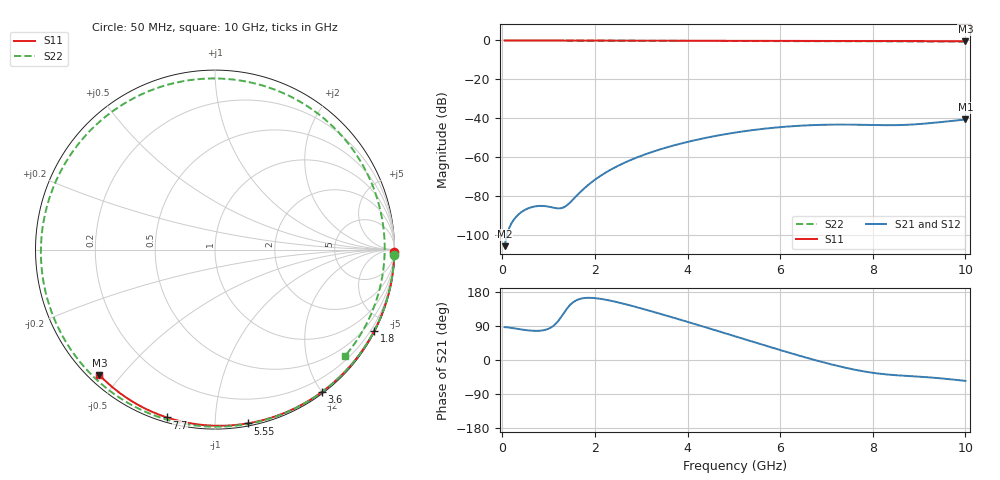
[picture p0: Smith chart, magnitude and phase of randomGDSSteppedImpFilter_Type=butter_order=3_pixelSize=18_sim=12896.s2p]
! freq	dB(S11)	phase(S11)	dB(S12)	phase(S12)
!  dB(S21)	phase(S21)	dB(S22)	phase(S22)
!S-par simulation data
#  GHz  S  DB  R 50
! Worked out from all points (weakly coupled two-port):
!   200 points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, 50 MHz to 10 GHz, reference 50 ohm
!   highest |S21| = -40.53 dB at 10 GHz (marker M1); lowest = -105.5 dB at 50 MHz (marker M2)
!   lowest |S11| = -0.4 dB at 10 GHz (marker M3), VSWR 39.05, Z = 1.53 - j21.9 ohm
!   |S11| at or under -10 dB: nowhere
!   |S22| runs from -0.6 to 0.0 dB; largest |S21 - S12| = 0
!   S11 on the Smith chart (normalised r, x): 50 MHz: open; 1.8 GHz: 0.04, -4.14; 3.6 GHz: 0.02, -2.00; 5.55 GHz: 0.02, -1.21; 7.7 GHz: 0.02, -0.75; 10 GHz: 0.03, -0.44
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0.05  -0.00 -0.8  -105.50 86.6  -105.50 86.6  -0.00 -1.9
0.75  -0.01 -11.4  -84.96 76.9  -84.96 76.9  -0.03 -27.3
1.55  -0.03 -23.5  -81.01 154.0  -81.01 154.0  -0.07 -56.0
1.6  -0.03 -24.2  -79.77 157.5  -79.77 157.5  -0.07 -57.8
1.75  -0.03 -26.4  -76.29 163.1  -76.29 163.1  -0.08 -63.1
1.8  -0.03 -27.2  -75.22 163.8  -75.22 163.8  -0.08 -64.9
2.1  -0.04 -31.6  -69.76 161.8  -69.76 161.8  -0.10 -75.5
2.45  -0.05 -36.7  -64.89 153.5  -64.89 153.5  -0.11 -87.8
2.9  -0.06 -43.2  -60.08 139.5  -60.08 139.5  -0.13 -103.6
3.4  -0.07 -50.3  -55.92 122.3  -55.92 122.3  -0.16 -121.3
3.6  -0.07 -53.1  -54.52 115.2  -54.52 115.2  -0.17 -128.5
4.35  -0.09 -63.5  -50.17 87.8  -50.17 87.8  -0.22 -156.1
5.05  -0.11 -72.8  -47.16 61.7  -47.16 61.7  -0.27 176.6
5.55  -0.13 -79.4  -45.55 43.0  -45.55 43.0  -0.31 155.8
6.1  -0.15 -86.4  -44.26 22.7  -44.26 22.7  -0.36 131.5
6.7  -0.18 -93.9  -43.42 1.6  -43.42 1.6  -0.40 103.4
7.2  -0.21 -100.0  -43.15 -14.4  -43.15 -14.4  -0.42 79.2
7.7  -0.24 -106.0  -43.23 -27.7  -43.23 -27.7  -0.44 55.0
8.35  -0.29 -113.6  -43.46 -38.7  -43.46 -38.7  -0.46 24.7
8.7  -0.32 -117.7  -43.29 -41.7  -43.29 -41.7  -0.48 9.5
9.1  -0.35 -122.3  -42.69 -44.8  -42.69 -44.8  -0.50 -6.9
10  -0.44 -132.7  -40.53 -55.1  -40.53 -55.1  -0.58 -39.4
